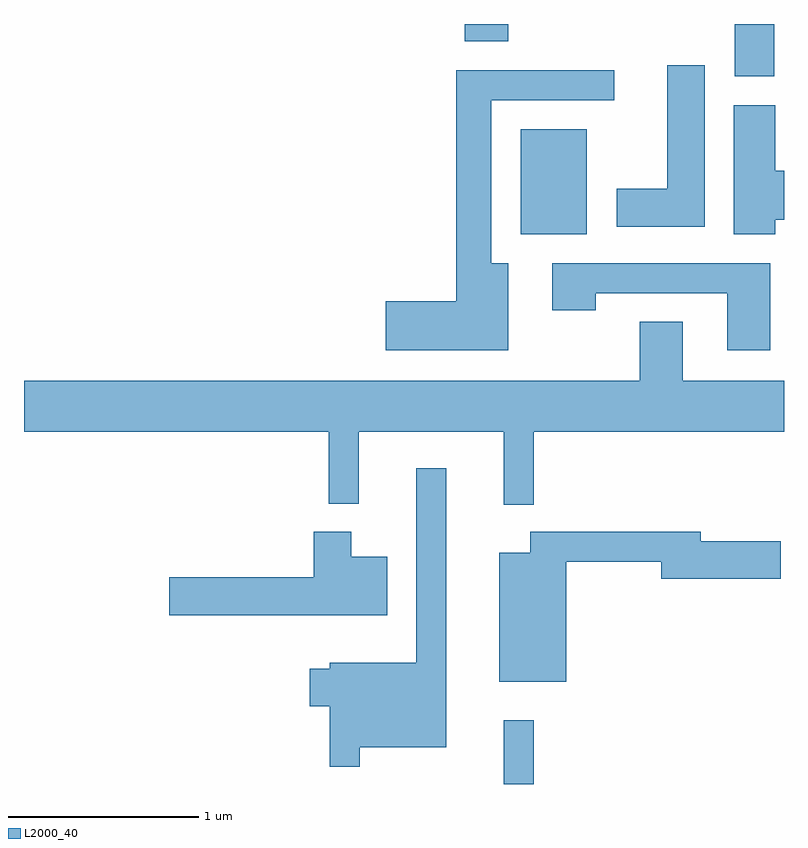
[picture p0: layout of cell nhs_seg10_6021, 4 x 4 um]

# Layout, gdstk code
import gdstk
lib = gdstk.Library(unit=1e-6, precision=1e-09)
def R(c, l, rs):  # rectangles x0, y0, x1, y1
    for r in rs: c.add(gdstk.rectangle(r[:2], r[2:], *l))
def P(c, l, *ps):  # polygons
    for p in ps: c.add(gdstk.Polygon(p, *l))
L2000_40 = (2000, 40)

nhs_seg10_6021 = lib.new_cell('nhs_seg10_6021')
R(nhs_seg10_6021, L2000_40, [(366.136,2096.522,366.294,2096.858), (366.226,2099.416,366.574,2099.969), (367.351,2100.246,367.559,2100.522), (365.931,2100.431,366.159,2100.522)])
P(nhs_seg10_6021, L2000_40, [(367.194,2100.304),(366.996,2100.304),(366.996,2099.654),(366.731,2099.654),(366.731,2099.456),(367.194,2099.456)],
  [(366.159,2099.264),(366.069,2099.264),(366.069,2100.121),(366.718,2100.121),(366.718,2100.279),(365.886,2100.279),(365.886,2099.064),(365.516,2099.064),(365.516,2098.806),(366.159,2098.806)],
  [(367.564,2099.491),(367.611,2099.491),(367.611,2099.749),(367.564,2099.749),(367.564,2100.094),(367.346,2100.094),(367.346,2099.416),(367.564,2099.416)],
  [(367.539,2099.264),(366.391,2099.264),(366.391,2099.016),(366.619,2099.016),(366.619,2099.106),(367.311,2099.106),(367.311,2098.806),(367.539,2098.806)],
  [(366.294,2098.376),(367.611,2098.376),(367.611,2098.644),(367.079,2098.644),(367.079,2098.954),(366.851,2098.954),(366.851,2098.644),(363.611,2098.644),(363.611,2098.376),(365.216,2098.376),(365.216,2097.998),(365.374,2097.998),(365.374,2098.376),(366.136,2098.376),(366.136,2097.993),(366.294,2097.993)],
  [(365.379,2096.716),(365.834,2096.716),(365.834,2098.183),(365.676,2098.183),(365.676,2097.159),(365.221,2097.159),(365.221,2097.129),(365.116,2097.129),(365.116,2096.931),(365.221,2096.931),(365.221,2096.613),(365.379,2096.613)],
  [(365.524,2097.719),(365.334,2097.719),(365.334,2097.849),(365.136,2097.849),(365.136,2097.609),(364.376,2097.609),(364.376,2097.411),(365.524,2097.411)],
  [(366.464,2097.691),(366.966,2097.691),(366.966,2097.601),(367.594,2097.601),(367.594,2097.799),(367.174,2097.799),(367.174,2097.849),(366.276,2097.849),(366.276,2097.739),(366.111,2097.739),(366.111,2097.061),(366.464,2097.061)])

lib.write_gds('nhs_seg10_6021.gds')
